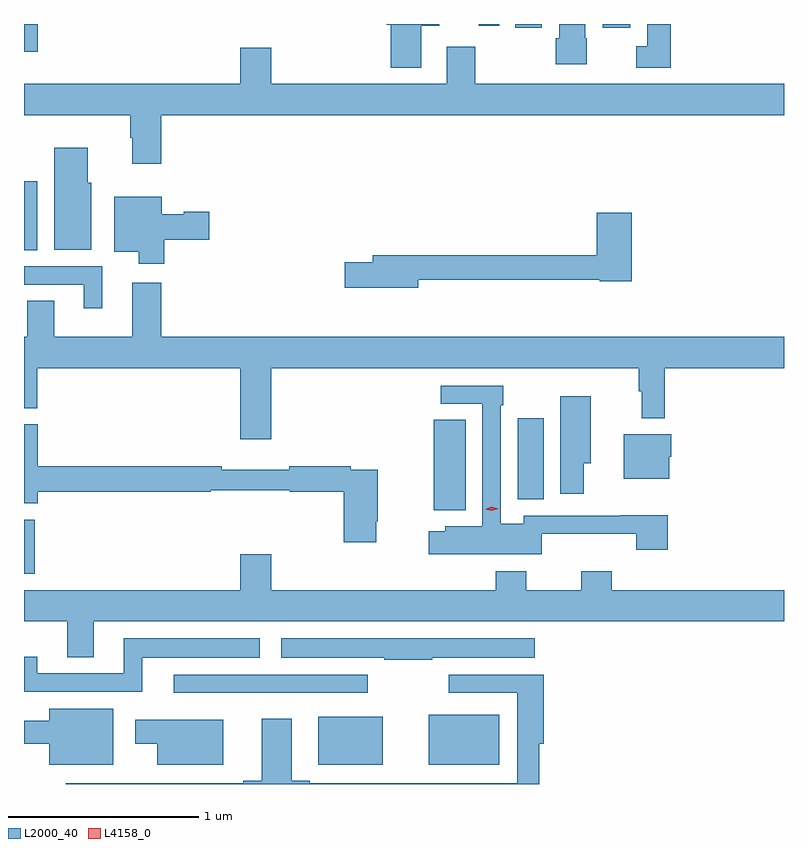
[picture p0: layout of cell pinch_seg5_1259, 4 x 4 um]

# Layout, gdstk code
import gdstk
lib = gdstk.Library(unit=1e-6, precision=1e-09)
def R(c, l, rs):  # rectangles x0, y0, x1, y1
    for r in rs: c.add(gdstk.rectangle(r[:2], r[2:], *l))
def P(c, l, *ps):  # polygons
    for p in ps: c.add(gdstk.Polygon(p, *l))
L2000_40 = (2000, 40)
L4158_0 = (4158, 0)

pinch_seg5_1259 = lib.new_cell('pinch_seg5_1259')
R(pinch_seg5_1259, L2000_40, [(441.143,850.676,441.484,850.93), (441.725,850.676,442.096,850.939), (439.595,851.682,439.652,851.967), (441.752,852.017,441.919,852.491), (442.193,852.073,442.33,852.499), (439.595,853.384,439.666,853.747), (439.595,854.43,439.667,854.575), (442.181,854.556,442.321,854.575), (442.64,854.556,442.786,854.575), (441.989,854.565,442.096,854.575)])
P(pinch_seg5_1259, L2000_40, [(442.558,854.499),(442.549,854.499),(442.549,854.575),(442.412,854.575),(442.412,854.499),(442.393,854.499),(442.393,854.363),(442.558,854.363)],
  [(443,854.575),(442.874,854.575),(442.874,854.458),(442.818,854.458),(442.818,854.345),(443,854.345)],
  [(441.685,854.565),(441.781,854.565),(441.781,854.575),(441.505,854.575),(441.505,854.57),(441.524,854.57),(441.524,854.346),(441.685,854.346)],
  [(440.318,854.096),(443.595,854.096),(443.595,854.26),(441.969,854.26),(441.969,854.455),(441.821,854.455),(441.821,854.26),(440.896,854.26),(440.896,854.449),(440.732,854.449),(440.732,854.26),(439.595,854.26),(439.595,854.096),(440.153,854.096),(440.153,853.976),(440.165,853.976),(440.165,853.839),(440.318,853.839)],
  [(439.948,853.74),(439.93,853.74),(439.93,853.924),(439.754,853.924),(439.754,853.388),(439.948,853.388)],
  [(440.333,853.439),(440.569,853.439),(440.569,853.586),(440.436,853.586),(440.436,853.573),(440.32,853.573),(440.32,853.666),(440.069,853.666),(440.069,853.376),(440.198,853.376),(440.198,853.314),(440.333,853.314)],
  [(441.67,853.23),(442.626,853.23),(442.626,853.222),(442.793,853.222),(442.793,853.582),(442.61,853.582),(442.61,853.358),(441.431,853.358),(441.431,853.322),(441.282,853.322),(441.282,853.187),(441.67,853.187)],
  [(440.008,853.299),(439.595,853.299),(439.595,853.203),(439.91,853.203),(439.91,853.08),(440.008,853.08)],
  [(440.896,852.764),(442.831,852.764),(442.831,852.641),(442.846,852.641),(442.846,852.501),(442.967,852.501),(442.967,852.764),(443.595,852.764),(443.595,852.928),(440.318,852.928),(440.318,853.213),(440.165,853.213),(440.165,852.928),(439.753,852.928),(439.753,853.118),(439.613,853.118),(439.613,852.928),(439.595,852.928),(439.595,852.553),(439.664,852.553),(439.664,852.764),(440.732,852.764),(440.732,852.39),(440.896,852.39)],
  [(442.32,851.891),(442.817,851.891),(442.817,851.808),(442.982,851.808),(442.982,851.99),(442.733,851.99),(442.733,851.988),(442.224,851.988),(442.224,851.944),(442.104,851.944),(442.104,852.569),(442.117,852.569),(442.117,852.672),(441.789,852.672),(441.789,852.576),(442.008,852.576),(442.008,851.932),(441.813,851.932),(441.813,851.905),(441.726,851.905),(441.726,851.783),(442.32,851.783)],
  [(442.54,852.263),(442.579,852.263),(442.579,852.616),(442.418,852.616),(442.418,852.102),(442.54,852.102)],
  [(441.448,851.959),(441.456,851.959),(441.456,852.228),(441.314,852.228),(441.314,852.248),(440.992,852.248),(440.992,852.229),(440.636,852.229),(440.636,852.248),(439.667,852.248),(439.667,852.468),(439.595,852.468),(439.595,852.052),(439.667,852.052),(439.667,852.112),(440.579,852.112),(440.579,852.12),(440.994,852.12),(440.994,852.112),(441.278,852.112),(441.278,851.847),(441.448,851.847)],
  [(442.99,852.297),(443.002,852.297),(443.002,852.415),(442.751,852.415),(442.751,852.182),(442.99,852.182)],
  [(439.963,851.432),(443.595,851.432),(443.595,851.596),(442.688,851.596),(442.688,851.695),(442.528,851.695),(442.528,851.596),(442.239,851.596),(442.239,851.695),(442.079,851.695),(442.079,851.596),(440.896,851.596),(440.896,851.785),(440.732,851.785),(440.732,851.596),(439.595,851.596),(439.595,851.432),(439.823,851.432),(439.823,851.242),(439.963,851.242)],
  [(441.743,851.24),(442.282,851.24),(442.282,851.341),(440.949,851.341),(440.949,851.24),(441.49,851.24),(441.49,851.23),(441.743,851.23)],
  [(440.218,851.24),(440.836,851.24),(440.836,851.341),(440.12,851.341),(440.12,851.157),(439.666,851.157),(439.666,851.245),(439.595,851.245),(439.595,851.061),(440.218,851.061)],
  [(441,851.055),(441.403,851.055),(441.403,851.151),(440.382,851.151),(440.382,851.054),(441,851.054)],
  [(442.307,850.787),(442.331,850.787),(442.331,851.151),(441.831,851.151),(441.831,851.055),(442.191,851.055),(442.191,850.578),(441.1,850.578),(441.1,850.591),(441.004,850.591),(441.004,850.918),(440.846,850.918),(440.846,850.591),(440.75,850.591),(440.75,850.578),(439.815,850.578),(439.815,850.575),(442.307,850.575)],
  [(440.065,850.972),(439.727,850.972),(439.727,850.909),(439.595,850.909),(439.595,850.787),(439.727,850.787),(439.727,850.676),(440.065,850.676)],
  [(440.644,850.912),(440.18,850.912),(440.18,850.787),(440.297,850.787),(440.297,850.676),(440.644,850.676)])
P(pinch_seg5_1259, L4158_0, [(442.057,852.013),(442.022,852.022),(442.021,852.022),(442.022,852.022),(442.056,852.033),(442.091,852.024),(442.091,852.024),(442.091,852.024)])

lib.write_gds('pinch_seg5_1259.gds')
